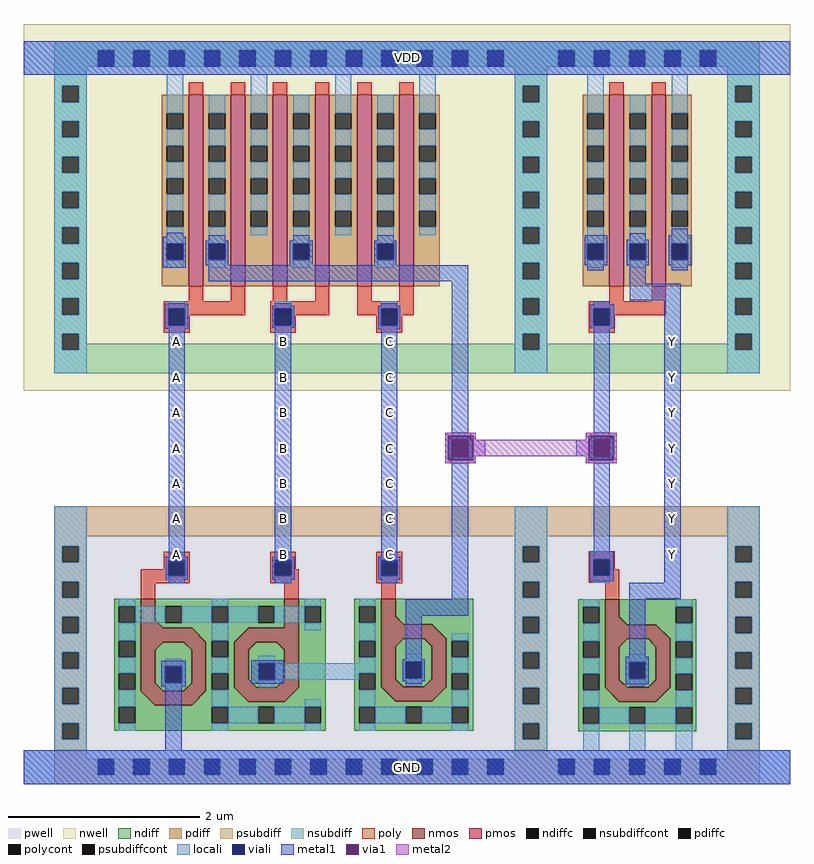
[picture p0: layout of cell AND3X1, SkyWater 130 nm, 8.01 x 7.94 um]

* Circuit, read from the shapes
.subckt AND3X1 Y A B C VDD GND
XM1 n1 A GND GND sky130_fd_pr__nfet_01v8 w=2.6 l=0.1469
XM2 n1 B n2 GND sky130_fd_pr__nfet_01v8 w=2.52 l=0.1481
XM3 n2 C n3 GND sky130_fd_pr__nfet_01v8 w=2.56 l=0.147
XM4 GND n3 Y GND sky130_fd_pr__nfet_01v8 w=2.56 l=0.1485
XM5 n3 A VDD VDD sky130_fd_pr__pfet_01v8 w=2 l=0.15 m=2
XM6 n3 B VDD VDD sky130_fd_pr__pfet_01v8 w=2 l=0.15 m=2
XM7 n3 C VDD VDD sky130_fd_pr__pfet_01v8 w=2 l=0.15 m=2
XM8 Y n3 VDD VDD sky130_fd_pr__pfet_01v8 w=2 l=0.15 m=2
.ends

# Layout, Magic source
magic
tech sky130A
magscale 1 2
<< nwell >>
rect 0 1586 1602 1588
rect 0 1552 11 1586
rect 0 1482 44 1552
rect 155 1499 189 1533
rect 0 822 11 1482
rect 1591 822 1602 1586
<< pwell >>
rect 0 2 64 70
rect 155 19 189 53
rect 1538 2 1602 70
rect 0 0 1602 2
<< psubdiff >>
rect 64 0 1538 2
<< nsubdiff >>
rect 64 1550 1538 1552
<< locali >>
rect 0 1482 1602 1552
rect 0 0 1602 70
<< metal1 >>
rect 0 1482 1602 1552
rect 303 907 337 941
rect 525 907 559 941
rect 747 907 781 941
rect 1339 907 1373 941
rect 303 833 337 867
rect 525 833 559 867
rect 747 833 781 867
rect 1339 833 1373 867
rect 303 759 337 793
rect 525 759 559 793
rect 747 759 781 793
rect 1339 759 1373 793
rect 303 685 337 719
rect 525 685 559 719
rect 747 685 781 719
rect 1339 685 1373 719
rect 303 611 337 645
rect 525 611 559 645
rect 747 611 781 645
rect 1339 611 1373 645
rect 303 537 337 571
rect 525 537 559 571
rect 747 537 781 571
rect 1339 537 1373 571
rect 303 463 337 497
rect 525 463 559 497
rect 747 463 781 497
rect 1339 463 1373 497
rect 0 0 1602 70
use and3x1_pcell  and3x1_pcell_0
transform 1 0 98 0 1 36
box -87 -34 1493 1550
<< labels >>
rlabel metal1 1339 463 1373 497 1 Y
port 1 nsew signal output
rlabel metal1 1339 537 1373 571 1 Y
port 1 nsew signal output
rlabel metal1 1339 611 1373 645 1 Y
port 1 nsew signal output
rlabel metal1 1339 685 1373 719 1 Y
port 1 nsew signal output
rlabel metal1 1339 759 1373 793 1 Y
port 1 nsew signal output
rlabel metal1 1339 833 1373 867 1 Y
port 1 nsew signal output
rlabel metal1 1339 907 1373 941 1 Y
port 1 nsew signal output
rlabel metal1 303 907 337 941 1 A
port 2 nsew signal input
rlabel metal1 303 833 337 867 1 A
port 2 nsew signal input
rlabel metal1 303 759 337 793 1 A
port 2 nsew signal input
rlabel metal1 303 685 337 719 1 A
port 2 nsew signal input
rlabel metal1 303 611 337 645 1 A
port 2 nsew signal input
rlabel metal1 303 537 337 571 1 A
port 2 nsew signal input
rlabel metal1 303 463 337 497 1 A
port 2 nsew signal input
rlabel metal1 525 907 559 941 1 B
port 3 nsew signal input
rlabel metal1 525 833 559 867 1 B
port 3 nsew signal input
rlabel metal1 525 759 559 793 1 B
port 3 nsew signal input
rlabel metal1 525 685 559 719 1 B
port 3 nsew signal input
rlabel metal1 525 611 559 645 1 B
port 3 nsew signal input
rlabel metal1 525 537 559 571 1 B
port 3 nsew signal input
rlabel metal1 525 463 559 497 1 B
port 3 nsew signal input
rlabel metal1 747 907 781 941 1 C
port 4 nsew signal input
rlabel metal1 747 833 781 867 1 C
port 4 nsew signal input
rlabel metal1 747 759 781 793 1 C
port 4 nsew signal input
rlabel metal1 747 685 781 719 1 C
port 4 nsew signal input
rlabel metal1 747 611 781 645 1 C
port 4 nsew signal input
rlabel metal1 747 537 781 571 1 C
port 4 nsew signal input
rlabel metal1 747 463 781 497 1 C
port 4 nsew signal input
rlabel metal1 0 1482 1602 1552 1 VDD
port 5 nsew power bidirectional abutment
rlabel metal1 0 0 1602 70 1 GND
port 6 nsew ground bidirectional abutment
<< properties >>
string FIXED_BBOX 0 0 1602 1552
string LEFclass CORE
string LEFsite unitrh
string LEFsymmetry X Y
<< end >>

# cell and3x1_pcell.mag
magic
tech sky130A
magscale 1 2
<< metal1 >>
rect 783 692 847 698
rect 783 640 789 692
rect 841 640 847 692
rect 783 634 847 640
rect 1077 692 1141 698
rect 1077 640 1083 692
rect 1135 640 1141 692
rect 1077 634 1141 640
<< via1 >>
rect 789 640 841 692
rect 1083 640 1135 692
<< metal2 >>
rect 783 692 847 698
rect 783 640 789 692
rect 841 683 847 692
rect 1077 692 1141 698
rect 1077 683 1083 692
rect 841 649 1083 683
rect 841 640 847 649
rect 783 634 847 640
rect 1077 640 1083 649
rect 1135 640 1141 692
rect 1077 634 1141 640
use invx1_pcell  invx1_pcell_0
transform 1 0 962 0 1 0
box -87 -34 531 1550
use li1_M1_contact  li1_M1_contact_0
transform -1 0 814 0 -1 666
box -53 -33 29 33
use li1_M1_contact  li1_M1_contact_1
transform 1 0 1110 0 1 666
box -53 -33 29 33
use nand3x1_pcell  nand3x1_pcell_0
transform 1 0 0 0 1 0
box -87 -34 1049 1550
<< end >>

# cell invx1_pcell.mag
magic
tech sky130A
magscale 1 2
<< nwell >>
rect -87 786 531 1550
<< pwell >>
rect -34 -34 478 544
<< pdiffc >>
rect 118 1059 152 1093
rect 206 1059 240 1093
rect 294 1059 328 1093
<< psubdiff >>
rect 34 482 410 544
rect 34 -17 57 17
rect 91 -17 131 17
rect 165 -17 205 17
rect 239 -17 279 17
rect 313 -17 353 17
rect 387 -17 410 17
rect 34 -34 410 -17
<< nsubdiff >>
rect 34 1497 410 1514
rect 34 1463 57 1497
rect 91 1463 131 1497
rect 165 1463 205 1497
rect 239 1463 279 1497
rect 313 1463 353 1497
rect 387 1463 410 1497
rect 34 822 410 884
<< psubdiffcont >>
rect 57 -17 91 17
rect 131 -17 165 17
rect 205 -17 239 17
rect 279 -17 313 17
rect 353 -17 387 17
<< nsubdiffcont >>
rect 57 1463 91 1497
rect 131 1463 165 1497
rect 205 1463 239 1497
rect 279 1463 313 1497
rect 353 1463 387 1497
<< poly >>
rect 155 381 185 413
<< locali >>
rect -34 1497 478 1514
rect -34 1463 57 1497
rect 91 1463 131 1497
rect 165 1463 205 1497
rect 239 1463 279 1497
rect 313 1463 353 1497
rect 387 1463 478 1497
rect -34 1446 478 1463
rect 118 1093 152 1117
rect 118 1043 152 1059
rect 206 1093 240 1117
rect 206 1043 240 1059
rect 294 1093 328 1117
rect 294 1043 328 1059
rect 109 34 143 84
rect 205 34 239 90
rect 303 34 337 90
rect -34 17 466 34
rect -34 -17 57 17
rect 91 -17 131 17
rect 165 -17 205 17
rect 239 -17 279 17
rect 313 -17 353 17
rect 387 -17 466 17
rect -34 -34 466 -17
<< viali >>
rect 57 1463 91 1497
rect 131 1463 165 1497
rect 205 1463 239 1497
rect 279 1463 313 1497
rect 353 1463 387 1497
rect 118 1059 152 1093
rect 206 1059 240 1093
rect 294 1059 328 1093
rect 131 923 165 957
rect 131 400 165 434
rect 205 184 239 218
rect 57 -17 91 17
rect 131 -17 165 17
rect 205 -17 239 17
rect 279 -17 313 17
rect 353 -17 387 17
<< metal1 >>
rect -34 1497 478 1514
rect -34 1463 57 1497
rect 91 1463 131 1497
rect 165 1463 205 1497
rect 239 1463 279 1497
rect 313 1463 353 1497
rect 387 1463 478 1497
rect -34 1446 478 1463
rect 112 1093 159 1111
rect 206 1101 240 1115
rect 294 1111 328 1124
rect 112 1059 118 1093
rect 152 1059 159 1093
rect 112 1048 159 1059
rect 200 1093 246 1101
rect 200 1059 206 1093
rect 240 1059 246 1093
rect 200 1048 246 1059
rect 288 1093 335 1111
rect 288 1059 294 1093
rect 328 1059 335 1093
rect 288 1048 335 1059
rect 118 1037 152 1048
rect 206 1009 240 1048
rect 294 1037 328 1048
rect 206 975 313 1009
rect 131 966 165 973
rect 124 957 174 966
rect 124 923 131 957
rect 165 923 174 957
rect 124 916 174 923
rect 131 450 165 916
rect 123 434 173 450
rect 123 400 131 434
rect 165 400 173 434
rect 123 388 173 400
rect 279 385 313 975
rect 205 351 313 385
rect 205 230 239 351
rect 198 218 246 230
rect 198 184 205 218
rect 239 184 246 218
rect 198 172 246 184
rect -34 17 478 34
rect -34 -17 57 17
rect 91 -17 131 17
rect 165 -17 205 17
rect 239 -17 279 17
rect 313 -17 353 17
rect 387 -17 478 17
rect -34 -34 478 -17
use diff_ring_side  diff_ring_side_0
transform 1 0 444 0 1 0
box -87 -34 87 1550
use diff_ring_side  diff_ring_side_1
transform 1 0 0 0 1 0
box -87 -34 87 1550
use nmos_top  nmos_top_0
transform -1 0 345 0 1 74
box 0 0 246 308
use pmos2  pmos2_0
transform 1 0 20 0 1 1404
box 52 -461 352 42
use poly_li1_contact  poly_li1_contact_0
transform 0 1 149 -1 0 941
box -32 -28 34 26
use poly_li1_contact  poly_li1_contact_1
transform 0 -1 147 1 0 416
box -32 -28 34 26
<< end >>

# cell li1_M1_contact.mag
magic
tech sky130A
magscale 1 2
<< locali >>
rect -17 17 17 33
rect -17 -33 17 -17
<< viali >>
rect -17 -17 17 17
<< metal1 >>
rect -23 17 23 23
rect -53 -17 -17 17
rect 17 -17 29 17
rect -23 -23 23 -17
<< end >>

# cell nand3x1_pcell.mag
magic
tech sky130A
magscale 1 2
<< nwell >>
rect 87 1099 875 1550
rect 87 1093 220 1099
rect 87 1059 205 1093
rect 229 1059 263 1093
rect 87 1056 220 1059
rect 279 1056 875 1099
rect 87 786 875 1056
<< pwell >>
rect 34 -34 928 544
<< pdiffc >>
rect 201 1059 235 1093
rect 289 1059 323 1093
rect 465 1059 499 1093
rect 641 1059 675 1093
<< psubdiff >>
rect 34 482 928 544
rect 34 -17 57 17
rect 91 -17 131 17
rect 165 -17 205 17
rect 239 -17 279 17
rect 313 -17 353 17
rect 387 -17 427 17
rect 461 -17 501 17
rect 535 -17 575 17
rect 609 -17 649 17
rect 683 -17 723 17
rect 757 -17 797 17
rect 831 -17 871 17
rect 905 -17 928 17
rect 34 -34 928 -17
<< nsubdiff >>
rect 34 1497 928 1514
rect 34 1463 57 1497
rect 91 1463 131 1497
rect 165 1463 205 1497
rect 239 1463 279 1497
rect 313 1463 353 1497
rect 387 1463 427 1497
rect 461 1463 501 1497
rect 535 1463 575 1497
rect 609 1463 649 1497
rect 683 1463 723 1497
rect 757 1463 797 1497
rect 831 1463 871 1497
rect 905 1463 928 1497
rect 34 822 928 884
<< psubdiffcont >>
rect 57 -17 91 17
rect 131 -17 165 17
rect 205 -17 239 17
rect 279 -17 313 17
rect 353 -17 387 17
rect 427 -17 461 17
rect 501 -17 535 17
rect 575 -17 609 17
rect 649 -17 683 17
rect 723 -17 757 17
rect 797 -17 831 17
rect 871 -17 905 17
<< nsubdiffcont >>
rect 57 1463 91 1497
rect 131 1463 165 1497
rect 205 1463 239 1497
rect 279 1463 313 1497
rect 353 1463 387 1497
rect 427 1463 461 1497
rect 501 1463 535 1497
rect 575 1463 609 1497
rect 649 1463 683 1497
rect 723 1463 757 1497
rect 797 1463 831 1497
rect 871 1463 905 1497
<< poly >>
rect 147 383 195 413
rect 471 383 477 413
rect 147 377 177 383
rect 447 377 477 383
<< locali >>
rect 14 1497 943 1514
rect 14 1463 57 1497
rect 91 1463 131 1497
rect 165 1463 205 1497
rect 239 1463 279 1497
rect 313 1463 353 1497
rect 387 1463 427 1497
rect 461 1463 501 1497
rect 535 1463 575 1497
rect 609 1463 649 1497
rect 683 1463 723 1497
rect 757 1463 797 1497
rect 831 1463 871 1497
rect 905 1463 943 1497
rect 14 1446 943 1463
rect 201 1093 235 1120
rect 201 1043 235 1059
rect 289 1093 323 1112
rect 289 1043 323 1059
rect 465 1093 499 1117
rect 465 1043 499 1059
rect 641 1093 675 1112
rect 641 1043 675 1059
rect 427 182 603 216
rect 34 17 930 34
rect 34 -17 57 17
rect 91 -17 131 17
rect 165 -17 205 17
rect 239 -17 279 17
rect 313 -17 353 17
rect 387 -17 427 17
rect 461 -17 501 17
rect 535 -17 575 17
rect 609 -17 649 17
rect 683 -17 723 17
rect 757 -17 797 17
rect 831 -17 871 17
rect 905 -17 930 17
rect 34 -34 930 -17
<< viali >>
rect 57 1463 91 1497
rect 131 1463 165 1497
rect 205 1463 239 1497
rect 279 1463 313 1497
rect 353 1463 387 1497
rect 427 1463 461 1497
rect 501 1463 535 1497
rect 575 1463 609 1497
rect 649 1463 683 1497
rect 723 1463 757 1497
rect 797 1463 831 1497
rect 871 1463 905 1497
rect 201 1059 235 1093
rect 289 1059 323 1093
rect 465 1059 499 1093
rect 641 1059 675 1093
rect 205 923 239 957
rect 427 923 461 957
rect 649 923 683 957
rect 205 399 239 433
rect 427 399 461 433
rect 649 399 683 433
rect 198 176 232 210
rect 393 182 427 216
rect 700 185 734 219
rect 57 -17 91 17
rect 131 -17 165 17
rect 205 -17 239 17
rect 279 -17 313 17
rect 353 -17 387 17
rect 427 -17 461 17
rect 501 -17 535 17
rect 575 -17 609 17
rect 649 -17 683 17
rect 723 -17 757 17
rect 797 -17 831 17
rect 871 -17 905 17
<< metal1 >>
rect 34 1497 928 1514
rect 34 1463 57 1497
rect 91 1463 131 1497
rect 165 1463 205 1497
rect 239 1463 279 1497
rect 313 1463 353 1497
rect 387 1463 427 1497
rect 461 1463 501 1497
rect 535 1463 575 1497
rect 609 1463 649 1497
rect 683 1463 723 1497
rect 757 1463 797 1497
rect 831 1463 871 1497
rect 905 1463 928 1497
rect 34 1446 928 1463
rect 201 1107 235 1116
rect 193 1093 241 1107
rect 289 1099 323 1111
rect 465 1099 499 1111
rect 641 1099 675 1111
rect 193 1059 201 1093
rect 235 1059 241 1093
rect 193 1043 241 1059
rect 283 1093 330 1099
rect 283 1059 289 1093
rect 323 1059 330 1093
rect 283 1048 330 1059
rect 458 1093 506 1099
rect 458 1059 465 1093
rect 499 1059 506 1093
rect 458 1048 506 1059
rect 635 1093 681 1099
rect 635 1059 641 1093
rect 675 1059 681 1093
rect 635 1048 681 1059
rect 289 1014 831 1048
rect 205 967 239 969
rect 198 957 246 967
rect 427 963 461 969
rect 649 963 683 969
rect 198 923 205 957
rect 239 923 246 957
rect 198 915 246 923
rect 421 957 467 963
rect 421 923 427 957
rect 461 923 467 957
rect 421 917 467 923
rect 643 957 689 963
rect 643 923 649 957
rect 683 923 689 957
rect 205 439 239 915
rect 427 439 461 917
rect 643 914 689 923
rect 649 439 683 914
rect 199 433 245 439
rect 199 399 205 433
rect 239 399 245 433
rect 199 391 245 399
rect 421 433 468 439
rect 421 399 427 433
rect 461 399 468 433
rect 421 391 468 399
rect 643 433 689 439
rect 643 399 649 433
rect 683 399 689 433
rect 643 391 689 399
rect 205 383 239 391
rect 427 383 461 391
rect 649 383 683 391
rect 797 350 831 1014
rect 700 316 831 350
rect 700 225 734 316
rect 189 210 241 222
rect 189 176 198 210
rect 232 176 241 210
rect 189 167 241 176
rect 378 216 445 223
rect 378 182 393 216
rect 427 182 445 216
rect 378 173 445 182
rect 694 219 740 225
rect 694 185 700 219
rect 734 185 740 219
rect 694 179 740 185
rect 700 173 734 179
rect 198 34 232 167
rect 34 17 928 34
rect 34 -17 57 17
rect 91 -17 131 17
rect 165 -17 205 17
rect 239 -17 279 17
rect 313 -17 353 17
rect 387 -17 427 17
rect 461 -17 501 17
rect 535 -17 575 17
rect 609 -17 649 17
rect 683 -17 723 17
rect 757 -17 797 17
rect 831 -17 871 17
rect 905 -17 928 17
rect 34 -34 928 -17
use diff_ring_side  diff_ring_side_0
transform 1 0 962 0 1 0
box -87 -34 87 1550
use diff_ring_side  diff_ring_side_1
transform 1 0 0 0 1 0
box -87 -34 87 1550
use nmos_bottom  nmos_bottom_0
transform -1 0 339 0 1 75
box 0 0 248 302
use nmos_side_left  nmos_side_left_0
transform 1 0 285 0 1 75
box 0 0 248 302
use nmos_top_trim1  nmos_top_trim1_0
transform -1 0 841 0 1 75
box 0 0 248 309
use pmos2  pmos2_0
transform 1 0 103 0 1 1404
box 52 -461 352 42
use pmos2  pmos2_1
transform 1 0 279 0 1 1404
box 52 -461 352 42
use pmos2  pmos2_2
transform 1 0 455 0 1 1404
box 52 -461 352 42
use poly_li1_contact  poly_li1_contact_0
transform 0 1 223 -1 0 941
box -32 -28 34 26
use poly_li1_contact  poly_li1_contact_1
transform 0 -1 221 1 0 415
box -32 -28 34 26
use poly_li1_contact  poly_li1_contact_2
transform 0 -1 443 1 0 415
box -32 -28 34 26
use poly_li1_contact  poly_li1_contact_3
transform 0 -1 443 1 0 939
box -32 -28 34 26
use poly_li1_contact  poly_li1_contact_4
transform 0 -1 665 1 0 415
box -32 -28 34 26
use poly_li1_contact  poly_li1_contact_5
transform 0 1 667 -1 0 941
box -32 -28 34 26
<< end >>

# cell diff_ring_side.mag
magic
tech sky130A
magscale 1 2
<< nwell >>
rect -87 786 87 1550
<< pwell >>
rect -34 -34 34 544
<< psubdiff >>
rect -34 461 34 544
rect -34 427 -17 461
rect 17 427 34 461
rect -34 387 34 427
rect -34 353 -17 387
rect 17 353 34 387
rect -34 313 34 353
rect -34 279 -17 313
rect 17 279 34 313
rect -34 239 34 279
rect -34 205 -17 239
rect 17 205 34 239
rect -34 165 34 205
rect -34 131 -17 165
rect 17 131 34 165
rect -34 91 34 131
rect -34 57 -17 91
rect 17 57 34 91
rect -34 -34 34 57
<< nsubdiff >>
rect -34 1423 34 1514
rect -34 1389 -17 1423
rect 17 1389 34 1423
rect -34 1349 34 1389
rect -34 1315 -17 1349
rect 17 1315 34 1349
rect -34 1275 34 1315
rect -34 1241 -17 1275
rect 17 1241 34 1275
rect -34 1201 34 1241
rect -34 1167 -17 1201
rect 17 1167 34 1201
rect -34 1127 34 1167
rect -34 1093 -17 1127
rect 17 1093 34 1127
rect -34 1053 34 1093
rect -34 1019 -17 1053
rect 17 1019 34 1053
rect -34 979 34 1019
rect -34 945 -17 979
rect 17 945 34 979
rect -34 905 34 945
rect -34 871 -17 905
rect 17 871 34 905
rect -34 822 34 871
<< psubdiffcont >>
rect -17 427 17 461
rect -17 353 17 387
rect -17 279 17 313
rect -17 205 17 239
rect -17 131 17 165
rect -17 57 17 91
<< nsubdiffcont >>
rect -17 1389 17 1423
rect -17 1315 17 1349
rect -17 1241 17 1275
rect -17 1167 17 1201
rect -17 1093 17 1127
rect -17 1019 17 1053
rect -17 945 17 979
rect -17 871 17 905
<< locali >>
rect -34 1423 34 1514
rect -34 1389 -17 1423
rect 17 1389 34 1423
rect -34 1349 34 1389
rect -34 1315 -17 1349
rect 17 1315 34 1349
rect -34 1275 34 1315
rect -34 1241 -17 1275
rect 17 1241 34 1275
rect -34 1201 34 1241
rect -34 1167 -17 1201
rect 17 1167 34 1201
rect -34 1127 34 1167
rect -34 1093 -17 1127
rect 17 1093 34 1127
rect -34 1053 34 1093
rect -34 1019 -17 1053
rect 17 1019 34 1053
rect -34 979 34 1019
rect -34 945 -17 979
rect 17 945 34 979
rect -34 905 34 945
rect -34 871 -17 905
rect 17 871 34 905
rect -34 822 34 871
rect -34 461 34 544
rect -34 427 -17 461
rect 17 427 34 461
rect -34 387 34 427
rect -34 353 -17 387
rect 17 353 34 387
rect -34 313 34 353
rect -34 279 -17 313
rect 17 279 34 313
rect -34 239 34 279
rect -34 205 -17 239
rect 17 205 34 239
rect -34 165 34 205
rect -34 131 -17 165
rect 17 131 34 165
rect -34 91 34 131
rect -34 57 -17 91
rect 17 57 34 91
rect -34 -34 34 57
<< metal1 >>
rect -34 1446 34 1514
rect -34 -34 34 34
<< end >>

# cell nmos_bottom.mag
magic
tech sky130A
magscale 1 2
<< nmos >>
tri 146 215 162 231 se
rect 162 215 192 276
tri 56 185 86 215 se
rect 86 185 192 215
rect 56 84 86 185
tri 86 169 102 185 nw
tri 146 169 162 185 ne
tri 86 84 102 100 sw
tri 146 84 162 100 se
rect 162 84 192 185
tri 56 54 86 84 ne
rect 86 54 162 84
tri 162 54 192 84 nw
<< ndiff >>
rect 0 260 162 276
rect 0 226 10 260
rect 44 226 107 260
rect 141 231 162 260
rect 141 226 146 231
rect 0 215 146 226
tri 146 215 162 231 nw
rect 192 260 248 276
rect 192 226 204 260
rect 238 226 248 260
rect 0 188 56 215
rect 0 154 10 188
rect 44 154 56 188
tri 56 185 86 215 nw
rect 192 188 248 226
rect 0 120 56 154
rect 0 86 10 120
rect 44 86 56 120
rect 0 54 56 86
tri 86 169 102 185 se
rect 102 169 146 185
tri 146 169 162 185 sw
rect 86 135 162 169
rect 86 101 107 135
rect 141 101 162 135
rect 86 100 162 101
tri 86 84 102 100 ne
rect 102 84 146 100
tri 146 84 162 100 nw
rect 192 154 204 188
rect 238 154 248 188
rect 192 120 248 154
rect 192 86 204 120
rect 238 86 248 120
tri 56 54 86 84 sw
tri 162 54 192 84 se
rect 192 54 248 86
rect 0 50 248 54
rect 0 16 10 50
rect 44 16 204 50
rect 238 16 248 50
rect 0 0 248 16
<< ndiffc >>
rect 10 226 44 260
rect 107 226 141 260
rect 204 226 238 260
rect 10 154 44 188
rect 10 86 44 120
rect 107 101 141 135
rect 204 154 238 188
rect 204 86 238 120
rect 10 16 44 50
rect 204 16 238 50
<< poly >>
rect 162 276 192 302
<< locali >>
rect 10 260 44 276
rect 204 260 238 276
rect 44 226 107 260
rect 141 226 204 260
rect 10 188 44 226
rect 10 120 44 154
rect 204 188 238 226
rect 10 50 44 86
rect 107 135 141 151
rect 107 85 141 101
rect 204 120 238 154
rect 10 0 44 16
rect 204 50 238 86
rect 204 0 238 16
<< end >>

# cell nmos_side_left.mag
magic
tech sky130
magscale 1 2
<< nmos >>
rect 162 215 192 276
tri 57 185 87 215 se
rect 87 185 192 215
rect 57 91 87 185
tri 87 169 103 185 nw
tri 146 169 162 185 ne
tri 87 91 103 107 sw
tri 146 91 162 107 se
rect 162 91 192 185
tri 57 61 87 91 ne
rect 87 61 162 91
tri 162 61 192 91 nw
<< ndiff >>
rect 0 260 162 276
rect 0 226 10 260
rect 44 226 107 260
rect 141 226 162 260
rect 0 215 162 226
rect 192 260 248 276
rect 192 226 204 260
rect 238 226 248 260
rect 0 188 57 215
rect 0 154 10 188
rect 44 154 57 188
tri 57 185 87 215 nw
rect 0 120 57 154
rect 0 86 10 120
rect 44 86 57 120
tri 87 169 103 185 se
rect 103 169 146 185
tri 146 169 162 185 sw
rect 87 141 162 169
rect 87 107 108 141
rect 142 107 162 141
tri 87 91 103 107 ne
rect 103 91 146 107
tri 146 91 162 107 nw
rect 0 61 57 86
tri 57 61 87 91 sw
tri 162 61 192 91 se
rect 192 61 248 226
rect 0 50 248 61
rect 0 16 10 50
rect 44 16 107 50
rect 141 16 204 50
rect 238 16 248 50
rect 0 0 248 16
<< ndiffc >>
rect 10 226 44 260
rect 107 226 141 260
rect 204 226 238 260
rect 10 154 44 188
rect 10 86 44 120
rect 108 107 142 141
rect 10 16 44 50
rect 107 16 141 50
rect 204 16 238 50
<< poly >>
rect 162 276 192 302
<< locali >>
rect 10 260 44 276
rect 204 260 238 276
rect 44 226 107 260
rect 141 226 204 260
rect 10 188 44 226
rect 204 210 238 226
rect 10 120 44 154
rect 108 141 142 157
rect 108 91 142 107
rect 10 50 44 86
rect 204 50 238 66
rect 44 16 107 50
rect 141 16 204 50
rect 10 0 44 16
rect 204 0 238 16
<< end >>

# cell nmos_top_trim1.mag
magic
tech sky130
magscale 1 2
<< nmos >>
tri 146 223 162 239 se
rect 162 223 192 276
tri 56 193 86 223 se
rect 86 193 192 223
rect 56 92 86 193
tri 86 177 102 193 nw
tri 146 177 162 193 ne
tri 86 92 102 108 sw
tri 146 92 162 108 se
rect 162 92 192 193
tri 56 62 86 92 ne
rect 86 62 162 92
tri 162 62 192 92 nw
<< ndiff >>
rect 0 239 162 276
rect 0 223 146 239
tri 146 223 162 239 nw
rect 192 260 248 276
rect 192 226 204 260
rect 238 226 248 260
rect 0 188 56 223
tri 56 193 86 223 nw
rect 0 154 10 188
rect 44 154 56 188
rect 0 120 56 154
rect 0 86 10 120
rect 44 86 56 120
tri 86 177 102 193 se
rect 102 177 146 193
tri 146 177 162 193 sw
rect 86 144 162 177
rect 86 110 107 144
rect 141 110 162 144
rect 86 108 162 110
tri 86 92 102 108 ne
rect 102 92 146 108
tri 146 92 162 108 nw
rect 192 188 248 226
rect 192 154 204 188
rect 238 154 248 188
rect 192 120 248 154
rect 0 62 56 86
tri 56 62 86 92 sw
tri 162 62 192 92 se
rect 192 86 204 120
rect 238 86 248 120
rect 192 62 248 86
rect 0 50 248 62
rect 0 16 10 50
rect 44 16 107 50
rect 141 16 204 50
rect 238 16 248 50
rect 0 0 248 16
<< ndiffc >>
rect 204 226 238 260
rect 10 154 44 188
rect 10 86 44 120
rect 107 110 141 144
rect 204 154 238 188
rect 204 86 238 120
rect 10 16 44 50
rect 107 16 141 50
rect 204 16 238 50
<< poly >>
rect 162 276 192 309
<< locali >>
rect 204 260 238 276
rect 10 188 44 204
rect 204 188 238 226
rect 10 120 44 154
rect 107 144 141 161
rect 107 94 141 110
rect 204 120 238 154
rect 10 50 44 86
rect 204 50 238 86
rect 44 16 107 50
rect 141 16 204 50
rect 10 0 44 16
rect 204 0 238 16
<< end >>

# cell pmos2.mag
magic
tech sky130A
magscale 1 2
<< nwell >>
rect 52 -436 352 36
<< pmos >>
rect 144 -400 174 0
rect 232 -400 262 0
<< pdiff >>
rect 88 -38 144 0
rect 88 -72 98 -38
rect 132 -72 144 -38
rect 88 -106 144 -72
rect 88 -140 98 -106
rect 132 -140 144 -106
rect 88 -174 144 -140
rect 88 -208 98 -174
rect 132 -208 144 -174
rect 88 -242 144 -208
rect 88 -276 98 -242
rect 132 -276 144 -242
rect 88 -400 144 -276
rect 174 -38 232 0
rect 174 -72 186 -38
rect 220 -72 232 -38
rect 174 -106 232 -72
rect 174 -140 186 -106
rect 220 -140 232 -106
rect 174 -174 232 -140
rect 174 -208 186 -174
rect 220 -208 232 -174
rect 174 -242 232 -208
rect 174 -276 186 -242
rect 220 -276 232 -242
rect 174 -400 232 -276
rect 262 -38 316 0
rect 262 -72 274 -38
rect 308 -72 316 -38
rect 262 -106 316 -72
rect 262 -140 274 -106
rect 308 -140 316 -106
rect 262 -174 316 -140
rect 262 -208 274 -174
rect 308 -208 316 -174
rect 262 -242 316 -208
rect 262 -276 274 -242
rect 308 -276 316 -242
rect 262 -400 316 -276
<< pdiffc >>
rect 98 -72 132 -38
rect 98 -140 132 -106
rect 98 -208 132 -174
rect 98 -276 132 -242
rect 186 -72 220 -38
rect 186 -140 220 -106
rect 186 -208 220 -174
rect 186 -276 220 -242
rect 274 -72 308 -38
rect 274 -140 308 -106
rect 274 -208 308 -174
rect 274 -276 308 -242
<< poly >>
rect 144 0 174 26
rect 232 0 262 26
rect 144 -431 174 -400
rect 232 -431 262 -400
rect 144 -461 262 -431
<< locali >>
rect 98 -38 132 42
rect 98 -106 132 -72
rect 98 -174 132 -140
rect 98 -242 132 -208
rect 98 -293 132 -276
rect 186 -38 220 0
rect 186 -106 220 -72
rect 186 -174 220 -140
rect 186 -242 220 -208
rect 186 -293 220 -276
rect 274 -38 308 42
rect 274 -106 308 -72
rect 274 -174 308 -140
rect 274 -242 308 -208
rect 274 -293 308 -276
<< end >>

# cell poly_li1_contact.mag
magic
tech sky130
<< poly >>
rect -16 8 17 13
rect -16 -9 -8 8
rect 9 -9 17 8
rect -16 -14 17 -9
<< polycont >>
rect -8 -9 9 8
<< locali >>
rect -16 -9 -8 8
rect 9 -9 17 8
<< end >>

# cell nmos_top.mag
magic
tech sky130
magscale 1 2
<< nmos >>
tri 144 223 160 239 se
rect 160 223 190 276
tri 54 193 84 223 se
rect 84 193 190 223
rect 54 92 84 193
tri 84 177 100 193 nw
tri 144 177 160 193 ne
tri 84 92 100 108 sw
tri 144 92 160 108 se
rect 160 92 190 193
tri 54 62 84 92 ne
rect 84 62 160 92
tri 160 62 190 92 nw
<< ndiff >>
rect 0 260 160 276
rect 0 226 8 260
rect 42 239 160 260
rect 42 226 144 239
rect 0 223 144 226
tri 144 223 160 239 nw
rect 190 260 246 276
rect 190 226 202 260
rect 236 226 246 260
rect 0 188 54 223
tri 54 193 84 223 nw
rect 0 154 8 188
rect 42 154 54 188
rect 0 120 54 154
rect 0 86 8 120
rect 42 86 54 120
tri 84 177 100 193 se
rect 100 177 144 193
tri 144 177 160 193 sw
rect 84 144 160 177
rect 84 110 106 144
rect 140 110 160 144
rect 84 108 160 110
tri 84 92 100 108 ne
rect 100 92 144 108
tri 144 92 160 108 nw
rect 190 188 246 226
rect 190 154 202 188
rect 236 154 246 188
rect 190 120 246 154
rect 0 62 54 86
tri 54 62 84 92 sw
tri 160 62 190 92 se
rect 190 86 202 120
rect 236 86 246 120
rect 190 62 246 86
rect 0 50 246 62
rect 0 16 8 50
rect 42 16 106 50
rect 140 16 202 50
rect 236 16 246 50
rect 0 0 246 16
<< ndiffc >>
rect 8 226 42 260
rect 202 226 236 260
rect 8 154 42 188
rect 8 86 42 120
rect 106 110 140 144
rect 202 154 236 188
rect 202 86 236 120
rect 8 16 42 50
rect 106 16 140 50
rect 202 16 236 50
<< poly >>
rect 160 276 190 308
<< locali >>
rect 8 260 42 276
rect 8 188 42 226
rect 202 260 236 276
rect 202 188 236 226
rect 8 120 42 154
rect 106 144 140 161
rect 106 94 140 110
rect 202 120 236 154
rect 8 50 42 86
rect 202 50 236 86
rect 42 16 106 50
rect 140 16 202 50
rect 8 0 42 16
rect 202 0 236 16
<< end >>
